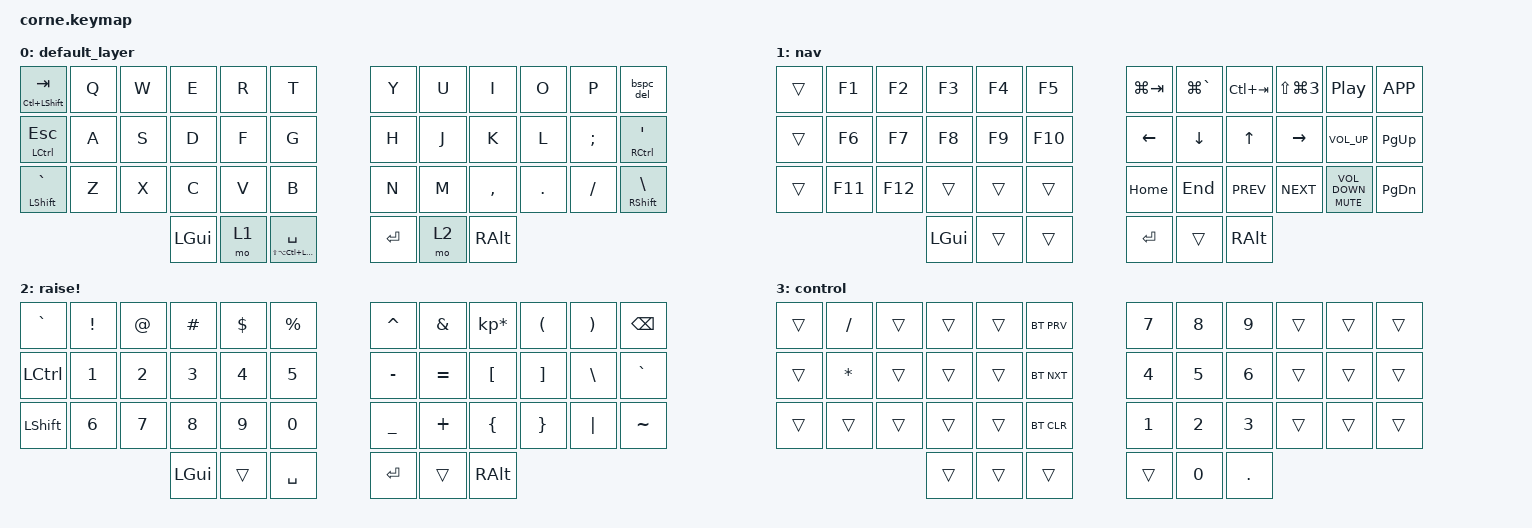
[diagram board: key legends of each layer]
/*
 * Copyright (c) 2020 The ZMK Contributors
 *
 * SPDX-License-Identifier: MIT
 */

#include <behaviors.dtsi>
#include <dt-bindings/zmk/bt.h>
#include <dt-bindings/zmk/keys.h>

/ {
    behaviors {
        as: auto_shift {
            compatible = "zmk,behavior-hold-tap";
            label = "AS";
            bindings =
                <&kp>,
                <&kp>;

            #binding-cells = <2>;
            tapping-term-ms = <135>;
            quick-tap-ms = <0>;
            flavor = "tap-preferred";
        };
        grave_escape: grave_escape {
            compatible = "zmk,behavior-mod-morph";
            label = "GRAVE_ESCAPE";
            bindings =
                <&kp ESCAPE>,
                <&kp GRAVE>;

            #binding-cells = <0>;
            mods = <(MOD_LCTL|MOD_LSFT|MOD_LGUI|MOD_RCTL|MOD_RALT)>;
            keep-mods = <(MOD_LCTL|MOD_LSFT|MOD_LGUI)>;
        };
        bspc_del: bspc_del {
            compatible = "zmk,behavior-mod-morph";
            label = "BSPC_DEL";
            bindings =
                <&kp BACKSPACE>,
                <&kp DELETE>;

            #binding-cells = <0>;
            mods = <(MOD_LSFT|MOD_LCTL|MOD_LGUI)>;
            keep-mods = <(MOD_LSFT|MOD_LCTL)>;
        };
        sh_cp: shift_caps {
            compatible = "zmk,behavior-tap-dance";
            label = "SHIFT_CAPS";
            #binding-cells = <0>;
            bindings =
                <&sk LEFT_SHIFT>,
                <&caps_word>,
                <&sk LEFT_CONTROL>;
        };
        sft_ctrl: sft_ctrl {
            compatible = "zmk,behavior-tap-dance";
            label = "SFT_CTRL";
            #binding-cells = <0>;
            bindings =
                <&sk RIGHT_SHIFT>,
                <&sk RIGHT_CONTROL>;
        };
        vol_dw_mt: vol_dw_mt {
            compatible = "zmk,behavior-mod-morph";
            label = "VOL_DW_MT";
            bindings =
                <&kp C_VOL_DN>,
                <&kp K_MUTE>;

            #binding-cells = <0>;
            mods = <(MOD_LCTL|MOD_LALT|MOD_LSFT)>;
        };
    };

    combos {
        compatible = "zmk,combos";

        control_layer {
            bindings = <&tog 3>;
            key-positions = <5 6>;
            layers = <0 3>;
        };

        combo_lbrc {
            bindings = <&kp LBRC>;
            key-positions = <1 13>;
        };

        combo_lbkt {
            bindings = <&kp LBKT>;
            key-positions = <2 14>;
        };

        combo_eq {
            bindings = <&kp EQUAL>;
            key-positions = <22 23>;
        };

        combo_par {
            bindings = <&kp LEFT_PARENTHESIS>;
            key-positions = <3 15>;
        };
    };

    macros {
        mc_clip: mc_clip {
            compatible = "zmk,behavior-macro";
            label = "MC_CLIP";
            #binding-cells = <0>;
            bindings = <&kp LG(LS(N4))>;
        };
    };

    keymap {
        compatible = "zmk,keymap";

        default_layer {
            // -----------------------------------------------------------------------------------------
            // |  TAB |  Q  |  W  |  E  |  R  |  T  |   |  Y  |  U   |  I  |  O  |  P  | BKSP |
            // | CTRL |  A  |  S  |  D  |  F  |  G  |   |  H  |  J   |  K  |  L  |  ;  |  '   |
            // | SHFT |  Z  |  X  |  C  |  V  |  B  |   |  N  |  M   |  ,  |  .  |  /  | ESC  |
            //                    | GUI | LWR | SPC |   | ENT | RSE  | ALT |

            bindings = <
      &mt LC(LSHFT) TAB  &kp Q  &kp W     &kp E  &kp R                       &kp T      &kp Y  &kp U      &kp I    &kp O     &kp P       &bspc_del
&mt LEFT_CONTROL ESCAPE  &kp A  &kp S     &kp D  &kp F                       &kp G      &kp H  &kp J      &kp K    &kp L  &kp SEMI   &mt RCTRL SQT
       &mt LSHIFT GRAVE  &kp Z  &kp X     &kp C  &kp V                       &kp B      &kp N  &kp M  &kp COMMA  &kp DOT  &kp FSLH  &mt RSHFT BSLH
                                       &kp LGUI  &mo 1  &mt LS(LA(LC(LGUI))) SPACE    &kp RET  &mo 2   &kp RALT
            >;
        };

        navigation {
            // -----------------------------------------------------------------------------------------
            // |  TAB |  1  |  2  |  3  |  4  |  5  |   |  6  |  7  |  8  |  9  |  0  | BKSP |
            // | BTCLR| BT1 | BT2 | BT3 | BT4 | BT5 |   | LFT | DWN |  UP | RGT |     |      |
            // | SHFT |     |     |     |     |     |   |     |     |     |     |     |      |
            //                    | GUI |     | SPC |   | ENT |     | ALT |

            bindings = <
&trans   &kp F1   &kp F2    &kp F3  &kp F4   &kp F5    &kp LG(TAB)  &kp LG(GRAVE)  &kp LC(TAB)  &kp LS(LG(N3))                  &kp C_PP      &kp K_APP
&trans   &kp F6   &kp F7    &kp F8  &kp F9  &kp F10       &kp LEFT       &kp DOWN       &kp UP       &kp RIGHT              &kp C_VOL_UP    &kp PAGE_UP
&trans  &kp F11  &kp F12    &trans  &trans   &trans       &kp HOME        &kp END   &kp C_PREV      &kp C_NEXT  &mt K_MUTE C_VOLUME_DOWN  &kp PAGE_DOWN
                          &kp LGUI  &trans   &trans        &kp RET         &trans     &kp RALT
            >;

            label = "nav";
        };

        raise_layer {
            // -----------------------------------------------------------------------------------------
            // |  TAB |  !  |  @  |  #  |  $  |  %  |   |  ^  |  &  |  *  |  (  |  )  | BKSP |
            // | CTRL |     |     |     |     |     |   |  -  |  =  |  [  |  ]  |  \  |  `   |
            // | SHFT |     |     |     |     |     |   |  _  |  +  |  {  |  }  | "|" |  ~   |
            //                    | GUI |     | SPC |   | ENT |     | ALT |

            bindings = <
&kp GRAVE  &kp EXCL  &kp AT  &kp HASH  &kp DLLR  &kp PRCNT    &kp CARET   &kp AMPS  &kp KP_MULTIPLY  &kp LPAR  &kp RPAR   &kp BSPC
&kp LCTRL    &kp N1  &kp N2    &kp N3    &kp N4     &kp N5    &kp MINUS  &kp EQUAL         &kp LBKT  &kp RBKT  &kp BSLH  &kp GRAVE
&kp LSHFT    &kp N6  &kp N7    &kp N8    &kp N9     &kp N0    &kp UNDER   &kp PLUS         &kp LBRC  &kp RBRC  &kp PIPE  &kp TILDE
                             &kp LGUI    &trans  &kp SPACE      &kp RET     &trans         &kp RALT
            >;

            label = "raise!";
        };

        control {
            bindings = <
&trans  &kp SLASH  &trans  &trans  &trans  &bt BT_PRV    &kp N7  &kp N8   &kp N9  &trans  &trans  &trans
&trans   &kp STAR  &trans  &trans  &trans  &bt BT_NXT    &kp N4  &kp N5   &kp N6  &trans  &trans  &trans
&trans     &trans  &trans  &trans  &trans  &bt BT_CLR    &kp N1  &kp N2   &kp N3  &trans  &trans  &trans
                           &trans  &trans      &trans    &trans  &kp N0  &kp DOT
            >;

            label = "control";
        };
    };
};
